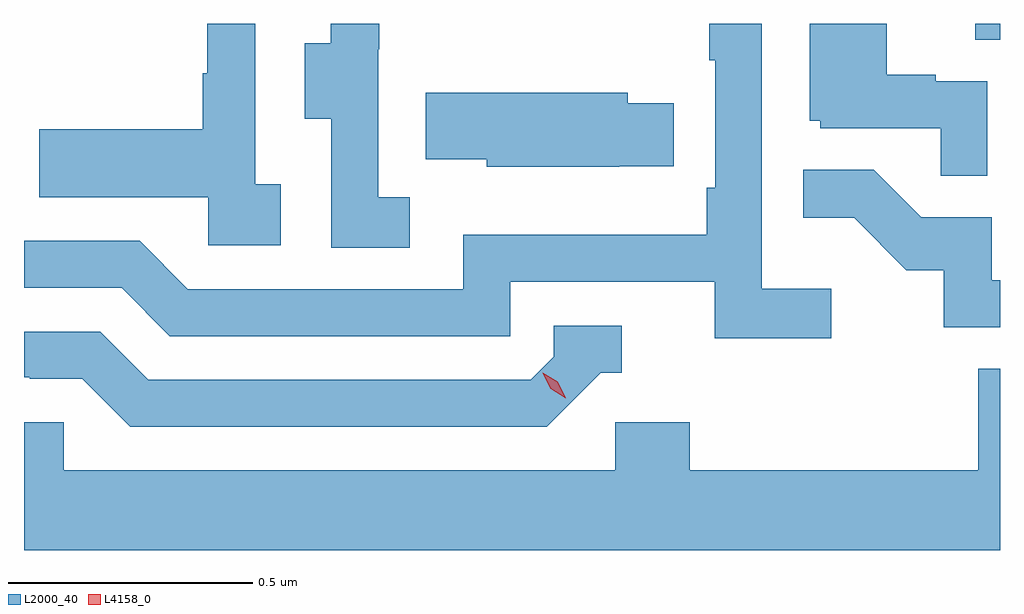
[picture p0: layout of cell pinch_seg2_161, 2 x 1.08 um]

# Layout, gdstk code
import gdstk
lib = gdstk.Library(unit=1e-6, precision=1e-09)
def R(c, l, rs):  # rectangles x0, y0, x1, y1
    for r in rs: c.add(gdstk.rectangle(r[:2], r[2:], *l))
def P(c, l, *ps):  # polygons
    for p in ps: c.add(gdstk.Polygon(p, *l))
L2000_40 = (2000, 40)
L4158_0 = (4158, 0)

pinch_seg2_161 = lib.new_cell('pinch_seg2_161')
R(pinch_seg2_161, L2000_40, [(1117.841,635.362,1117.892,635.395)])
P(pinch_seg2_161, L2000_40, [(1117.546,634.852),(1117.404,634.852),(1117.404,635.395),(1117.296,635.395),(1117.296,635.32),(1117.308,635.32),(1117.308,635.059),(1117.291,635.059),(1117.291,634.963),(1116.792,634.963),(1116.792,634.851),(1116.228,634.851),(1116.129,634.95),(1115.892,634.95),(1115.892,634.854),(1116.092,634.854),(1116.191,634.755),(1116.888,634.755),(1116.888,634.866),(1117.307,634.866),(1117.307,634.75),(1117.546,634.75)],
  [(1117.866,635.277),(1117.76,635.277),(1117.76,635.29),(1117.66,635.29),(1117.66,635.395),(1117.502,635.395),(1117.502,635.196),(1117.524,635.196),(1117.524,635.181),(1117.771,635.181),(1117.771,635.083),(1117.866,635.083)],
  [(1116.418,635.066),(1116.366,635.066),(1116.366,635.395),(1116.268,635.395),(1116.268,635.294),(1116.258,635.294),(1116.258,635.179),(1115.923,635.179),(1115.923,635.039),(1116.27,635.039),(1116.27,634.941),(1116.418,634.941)],
  [(1116.682,635.039),(1116.618,635.039),(1116.618,635.343),(1116.62,635.343),(1116.62,635.395),(1116.521,635.395),(1116.521,635.355),(1116.467,635.355),(1116.467,635.2),(1116.522,635.2),(1116.522,634.936),(1116.682,634.936)],
  [(1117.112,635.103),(1117.223,635.103),(1117.223,635.232),(1117.129,635.232),(1117.129,635.254),(1116.715,635.254),(1116.715,635.117),(1116.84,635.117),(1116.84,635.102),(1117.112,635.102)],
  [(1117.892,634.869),(1117.875,634.869),(1117.875,634.998),(1117.731,634.998),(1117.633,635.096),(1117.489,635.096),(1117.489,634.997),(1117.593,634.997),(1117.7,634.89),(1117.777,634.89),(1117.777,634.773),(1117.892,634.773)],
  [(1117.074,634.68),(1117.117,634.68),(1117.117,634.776),(1116.978,634.776),(1116.978,634.713),(1116.93,634.665),(1116.147,634.665),(1116.048,634.764),(1115.892,634.764),(1115.892,634.671),(1115.904,634.671),(1115.904,634.668),(1116.011,634.668),(1116.11,634.569),(1116.963,634.569)],
  [(1117.892,634.688),(1117.847,634.688),(1117.847,634.48),(1117.256,634.48),(1117.256,634.578),(1117.104,634.578),(1117.104,634.48),(1115.973,634.48),(1115.973,634.578),(1115.892,634.578),(1115.892,634.316),(1117.892,634.316)])
P(pinch_seg2_161, L4158_0, [(1117.002,634.628),(1116.971,634.647),(1116.955,634.679),(1116.955,634.68),(1116.955,634.68),(1116.986,634.661),(1117.002,634.628),(1117.002,634.628)])

lib.write_gds('pinch_seg2_161.gds')
